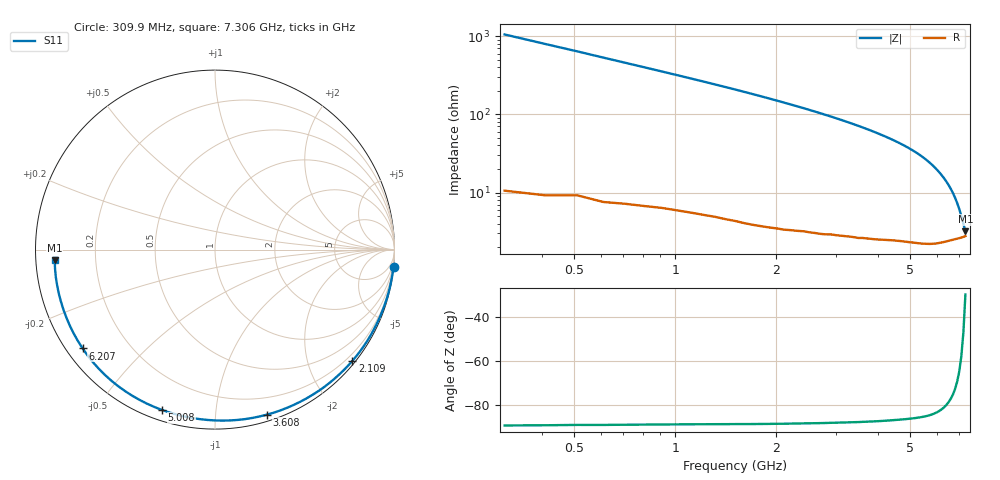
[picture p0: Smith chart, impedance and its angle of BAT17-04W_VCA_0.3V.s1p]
! Infineon Technologies  Discrete & RF Semiconductors
! BAT17-04W
! VCA = 0.3 V
! One-Port S-Parameters
# Hz  S  MA  R  50
!f  S11
!Hz  Mag  Ang
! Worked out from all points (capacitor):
!   71 points, 309.9 MHz to 7.306 GHz, reference 50 ohm
!   read as one part to ground: C = 488 fF near 309.9 MHz
!   lowest |Z| = 3.2 ohm at 7.306 GHz (marker M1)
!   S11 on the Smith chart (normalised r, x): 309.9 MHz: 0, -21; 2.109 GHz: 0.07, -2.82; 3.608 GHz: 0.05, -1.36; 5.008 GHz: 0.05, -0.72; 6.207 GHz: 0.05, -0.33; 7.306 GHz: 0.06, -0.03
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3.0985e8  0.999 -5.4
6.097e8  0.9974 -10.7
8.096e8  0.9959 -14.3
1.2094e9  0.9928 -21.5
1.50925e9  0.9906 -27.1
1.70915e9  0.9891 -30.9
1.90905e9  0.9872 -34.9
2.10895e9  0.9852 -39.0
2.50875e9  0.9802 -47.4
2.70865e9  0.9778 -51.7
3.0085e9  0.9732 -58.5
3.30835e9  0.9686 -65.4
3.6082e9  0.9639 -72.5
3.8081e9  0.9607 -77.4
4.008e9  0.9574 -82.3
4.2079e9  0.9538 -87.3
4.50775e9  0.9484 -95.0
4.70765e9  0.9452 -100.3
5.0075e9  0.941 -108.3
5.30735e9  0.937 -116.7
5.6072e9  0.9327 -125.3
5.90705e9  0.9273 -134.2
6.2069e9  0.9205 -143.3
6.50675e9  0.9131 -152.3
6.70665e9  0.9083 -158.3
6.90655e9  0.904 -164.3
7.10645e9  0.9 -170.3
7.30635e9  0.8949 -176.3
